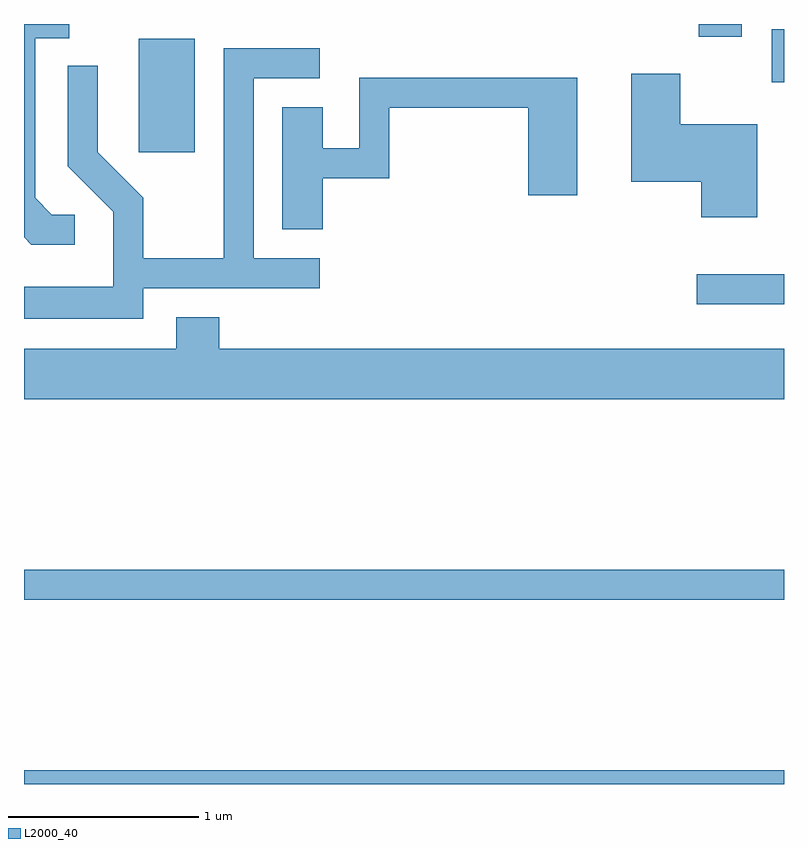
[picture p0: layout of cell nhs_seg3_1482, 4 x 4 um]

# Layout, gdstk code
import gdstk
lib = gdstk.Library(unit=1e-6, precision=1e-09)
def R(c, l, rs):  # rectangles x0, y0, x1, y1
    for r in rs: c.add(gdstk.rectangle(r[:2], r[2:], *l))
def P(c, l, *ps):  # polygons
    for p in ps: c.add(gdstk.Polygon(p, *l))
L2000_40 = (2000, 40)

nhs_seg3_1482 = lib.new_cell('nhs_seg3_1482')
R(nhs_seg3_1482, L2000_40, [(227.611,1223.892,231.611,1223.964), (227.611,1224.861,231.611,1225.019), (231.153,1226.416,231.611,1226.574), (228.216,1227.216,228.509,1227.814), (231.546,1227.586,231.611,1227.864), (231.161,1227.826,231.389,1227.892)])
P(nhs_seg3_1482, L2000_40, [(227.878,1226.889),(227.757,1226.889),(227.669,1226.977),(227.669,1227.816),(227.848,1227.816),(227.848,1227.892),(227.611,1227.892),(227.611,1226.769),(227.649,1226.731),(227.878,1226.731)],
  [(228.239,1226.501),(229.168,1226.501),(229.168,1226.659),(228.819,1226.659),(228.819,1227.606),(229.168,1227.606),(229.168,1227.764),(228.661,1227.764),(228.661,1226.659),(228.239,1226.659),(228.239,1226.977),(227.999,1227.217),(227.999,1227.673),(227.841,1227.673),(227.841,1227.144),(228.081,1226.904),(228.081,1226.509),(227.611,1226.509),(227.611,1226.341),(228.239,1226.341)],
  [(231.469,1227.364),(231.064,1227.364),(231.064,1227.629),(230.806,1227.629),(230.806,1227.061),(231.176,1227.061),(231.176,1226.876),(231.469,1226.876)],
  [(229.184,1227.081),(229.534,1227.081),(229.534,1227.451),(230.266,1227.451),(230.266,1226.991),(230.524,1226.991),(230.524,1227.609),(229.376,1227.609),(229.376,1227.239),(229.184,1227.239),(229.184,1227.454),(228.971,1227.454),(228.971,1226.811),(229.184,1226.811)],
  [(231.611,1226.184),(228.639,1226.184),(228.639,1226.349),(228.411,1226.349),(228.411,1226.184),(227.611,1226.184),(227.611,1225.916),(231.611,1225.916)])

lib.write_gds('nhs_seg3_1482.gds')
